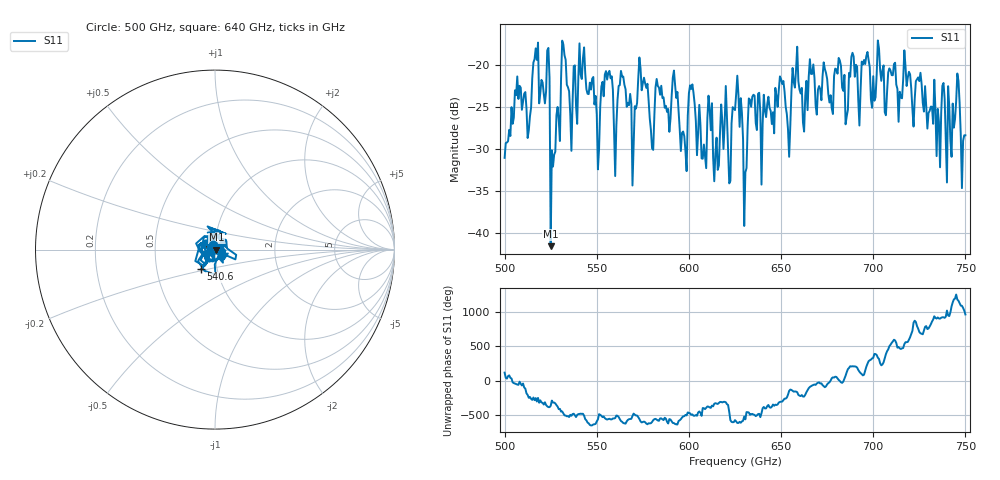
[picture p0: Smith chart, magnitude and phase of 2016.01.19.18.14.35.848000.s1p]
!Created with skrf (http://scikit-rf.org).
# GHz S RI R 50.0
!freq ReS11 ImS11
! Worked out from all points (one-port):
!   401 points, 500 GHz to 750 GHz, reference 50 ohm
!   lowest |S11| = -41.6 dB at 525 GHz (marker M1), VSWR 1.02, Z = 50.8 - j0.106 ohm
!   |S11| at or under -10 dB: start of sweep to end of sweep
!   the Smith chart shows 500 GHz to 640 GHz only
!   S11 on the Smith chart (normalised r, x): 500 GHz: 0.98, +0.05; 540.6 GHz: 0.84, -0.19; 640 GHz: 1.07, -0.06
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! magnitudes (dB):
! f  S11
! 500 GHz  -31.1
! 506.9 GHz  -21.4
! 513.1 GHz  -27.8
! 516.9 GHz  -18.0
! 523.1 GHz  -18.3
! 525 GHz  -41.6
! 526.2 GHz  -32.1
! 531.2 GHz  -17.1
! 540.6 GHz  -17.5
! 550.6 GHz  -32.5
! 562.5 GHz  -22.4
! 570 GHz  -29.8
! 573.8 GHz  -20.4
! 580 GHz  -29.9
! 593.8 GHz  -23.2
! 597.5 GHz  -28.5
! 601.9 GHz  -22.3
! 608.1 GHz  -29.5
! 611.2 GHz  -25.3
! 615 GHz  -28.7
! 625 GHz  -25.4
! 630.6 GHz  -32.8
! 633.8 GHz  -25.0
! 640 GHz  -27.0
! 656.2 GHz  -20.4
! 687.5 GHz  -21.4
! 718.8 GHz  -21.5
! 750 GHz  -28.4
